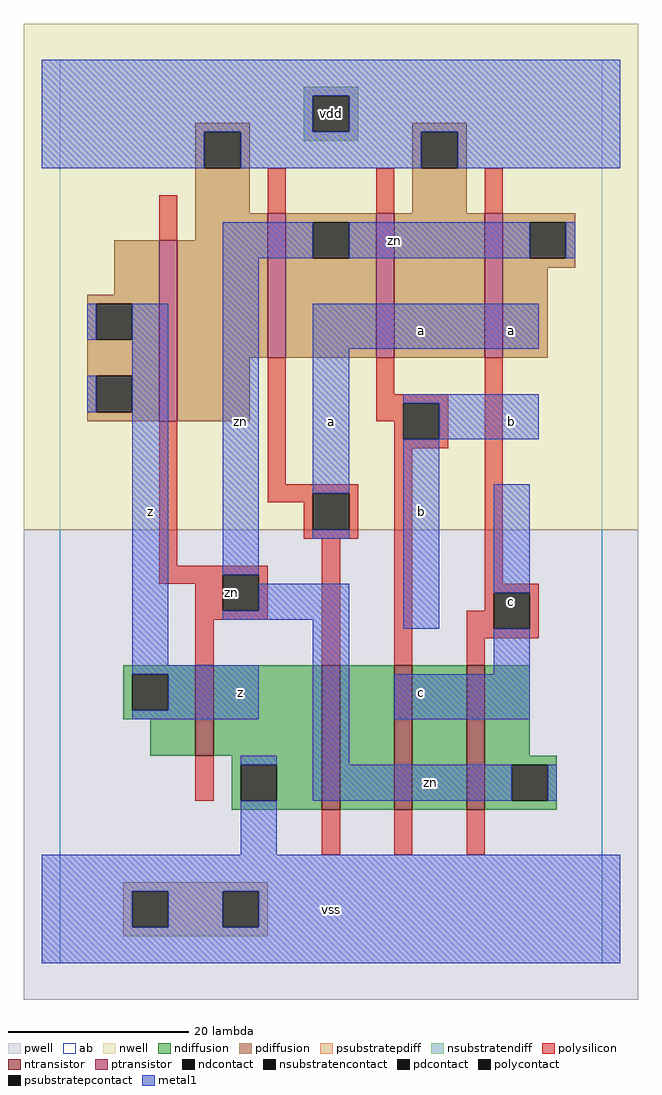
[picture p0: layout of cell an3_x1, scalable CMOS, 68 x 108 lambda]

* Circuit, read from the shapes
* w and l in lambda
.subckt an3_x1 a b c vdd vss z zn
M1 vss zn z vss nfet w=10 l=2
M2 n1 a vss vss nfet w=16 l=2
M3 n2 b n1 vss nfet w=16 l=2
M4 zn c n2 vss nfet w=16 l=2
M5 vdd zn z vdd pfet w=20 l=2
M6 zn a vdd vdd pfet w=16 l=2
M7 vdd b zn vdd pfet w=16 l=2
M8 zn c vdd vdd pfet w=16 l=2
.ends

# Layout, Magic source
magic
tech scmos
<< ab >>
rect 0 0 60 100
<< pwell >>
rect -4 -4 64 48
<< nwell >>
rect -4 48 64 104
<< polysilicon >>
rect 11 80 13 85
rect 23 83 25 88
rect 35 83 37 88
rect 47 83 49 88
rect 11 44 13 60
rect 23 53 25 67
rect 35 63 37 67
rect 35 62 43 63
rect 35 60 38 62
rect 37 58 38 60
rect 42 58 43 62
rect 37 57 43 58
rect 23 52 33 53
rect 23 51 28 52
rect 27 48 28 51
rect 32 48 33 52
rect 27 47 33 48
rect 11 43 23 44
rect 11 42 18 43
rect 15 39 18 42
rect 22 39 23 43
rect 15 38 23 39
rect 15 33 17 38
rect 29 33 31 47
rect 37 33 39 57
rect 47 42 49 67
rect 47 41 53 42
rect 47 39 48 41
rect 45 37 48 39
rect 52 37 53 41
rect 45 36 53 37
rect 45 33 47 36
rect 15 18 17 23
rect 29 12 31 17
rect 37 12 39 17
rect 45 12 47 17
<< ndiffusion >>
rect 7 32 15 33
rect 7 28 8 32
rect 12 28 15 32
rect 7 27 15 28
rect 10 23 15 27
rect 17 23 29 33
rect 19 22 29 23
rect 19 18 20 22
rect 24 18 29 22
rect 19 17 29 18
rect 31 17 37 33
rect 39 17 45 33
rect 47 23 52 33
rect 47 22 55 23
rect 47 18 50 22
rect 54 18 55 22
rect 47 17 55 18
<< pdiffusion >>
rect 15 92 21 93
rect 15 88 16 92
rect 20 88 21 92
rect 39 92 45 93
rect 39 88 40 92
rect 44 88 45 92
rect 15 83 21 88
rect 39 83 45 88
rect 15 80 23 83
rect 6 74 11 80
rect 3 73 11 74
rect 3 69 4 73
rect 8 69 11 73
rect 3 65 11 69
rect 3 61 4 65
rect 8 61 11 65
rect 3 60 11 61
rect 13 67 23 80
rect 25 82 35 83
rect 25 78 28 82
rect 32 78 35 82
rect 25 67 35 78
rect 37 67 47 83
rect 49 82 57 83
rect 49 78 52 82
rect 56 78 57 82
rect 49 77 57 78
rect 49 67 54 77
rect 13 60 21 67
<< metal1 >>
rect -2 96 62 100
rect -2 92 28 96
rect 32 92 62 96
rect -2 88 16 92
rect 20 88 40 92
rect 44 88 62 92
rect 18 78 28 82
rect 32 78 52 82
rect 56 78 57 82
rect 3 69 4 73
rect 3 61 4 65
rect 8 33 12 73
rect 18 43 22 78
rect 28 68 53 73
rect 28 52 32 68
rect 28 47 32 48
rect 38 62 53 63
rect 42 58 53 62
rect 22 39 32 42
rect 18 38 32 39
rect 8 32 22 33
rect 12 28 22 32
rect 8 27 22 28
rect 20 22 24 23
rect 28 22 32 38
rect 38 37 42 58
rect 48 41 52 53
rect 48 32 52 37
rect 37 27 52 32
rect 28 18 50 22
rect 54 18 55 22
rect 20 12 24 18
rect -2 8 62 12
rect -2 4 8 8
rect 12 4 18 8
rect 22 4 62 8
rect -2 0 62 4
<< ntransistor >>
rect 15 23 17 33
rect 29 17 31 33
rect 37 17 39 33
rect 45 17 47 33
<< ptransistor >>
rect 11 60 13 80
rect 23 67 25 83
rect 35 67 37 83
rect 47 67 49 83
<< polycontact >>
rect 38 58 42 62
rect 28 48 32 52
rect 18 39 22 43
rect 48 37 52 41
<< ndcontact >>
rect 8 28 12 32
rect 20 18 24 22
rect 50 18 54 22
<< pdcontact >>
rect 16 88 20 92
rect 40 88 44 92
rect 4 69 8 73
rect 4 61 8 65
rect 28 78 32 82
rect 52 78 56 82
<< psubstratepcontact >>
rect 8 4 12 8
rect 18 4 22 8
<< nsubstratencontact >>
rect 28 92 32 96
<< psubstratepdiff >>
rect 7 8 23 9
rect 7 4 8 8
rect 12 4 18 8
rect 22 4 23 8
rect 7 3 23 4
<< nsubstratendiff >>
rect 27 96 33 97
rect 27 92 28 96
rect 32 92 33 96
rect 27 91 33 92
<< labels >>
rlabel polycontact 19 41 19 41 6 zn
rlabel metal1 10 50 10 50 6 z
rlabel metal1 20 30 20 30 6 z
rlabel metal1 20 60 20 60 6 zn
rlabel metal1 30 6 30 6 6 vss
rlabel metal1 40 30 40 30 6 c
rlabel metal1 40 50 40 50 6 b
rlabel metal1 30 60 30 60 6 a
rlabel metal1 40 70 40 70 6 a
rlabel nsubstratencontact 30 94 30 94 6 vdd
rlabel metal1 41 20 41 20 6 zn
rlabel polycontact 50 40 50 40 6 c
rlabel metal1 50 70 50 70 6 a
rlabel metal1 50 60 50 60 6 b
rlabel metal1 37 80 37 80 6 zn
<< end >>
